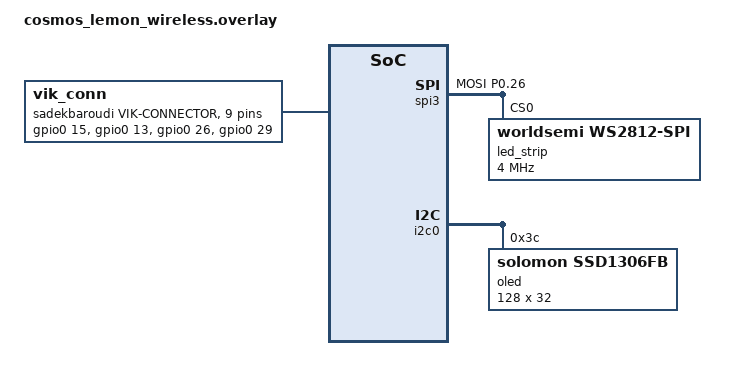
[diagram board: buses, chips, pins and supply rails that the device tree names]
#include <dt-bindings/led/led.h>

&pinctrl {
    spi3_default: spi3_default {
        group1 {
            psels = <NRF_PSEL(SPIM_MOSI, 0, 26)>;
        };
    };

    spi3_sleep: spi3_sleep {
        group1 {
            psels = <NRF_PSEL(SPIM_MOSI, 0, 26)>;
            low-power-enable;
        };
    };
};

&spi3 {
    compatible = "nordic,nrf-spim";
    status = "okay";

    pinctrl-0 = <&spi3_default>;
    pinctrl-1 = <&spi3_sleep>;
    pinctrl-names = "default", "sleep";

    led_strip: ws2812@0 {
        compatible = "worldsemi,ws2812-spi";

        /* SPI */
        reg = <0>; /* ignored, but necessary for SPI bindings */
        spi-max-frequency = <4000000>;

        /* WS2812 */
        chain-length = <49>;
        spi-one-frame = <0xE0>;
        spi-zero-frame = <0x80>;
        reset-delay = <50>;

        color-mapping = <LED_COLOR_ID_GREEN LED_COLOR_ID_RED LED_COLOR_ID_BLUE>;
    };
};

/ {
    chosen {
        zmk,underglow = &led_strip;
    };

    vik_conn: vik_connector {
		    compatible = "sadekbaroudi,vik-connector";
        #gpio-cells = <2>;
        gpio-map-mask = <0xffffffff 0xffffffc0>;
        gpio-map-pass-thru = <0 0x3f>;
        gpio-map
          = <0 0 &gpio0  15 0>   /* vik SDA */
          , <1 0 &gpio0  13 0>   /* vik SCL */
          , <2 0 &gpio0  26 0>   /* vik RGB Data */
          , <3 0 &gpio0  29 0>   /* vik AD_1 */
          , <4 0 &gpio0  12 0>   /* vik MOSI */
          , <5 0 &gpio0  31 0>   /* vik AD_2 */
          , <6 0 &gpio0  8 0>    /* vik CS */
          , <7 0 &gpio0  6 0>    /* vik MISO */
          , <8 0 &gpio1  1 9>    /* vik SCLK */
          ;
    };
};

&i2c0 {
    status = "okay";
    compatible = "nordic,nrf-twi"; // Adjust depending on your MCU (e.g., nordic,nrf-twim)
    sda-pin = 15; // Replace X with your MCU's SDA GPIO pin number
    scl-pin = 13; // Replace Y with your MCU's SCL GPIO pin number

    oled: ssd1306@3c {
        compatible = "solomon,ssd1306fb";
        reg = <0x3c>;
        width = <128>;
        height = <32>;
        segment-offset = <0>;
        page-offset = <0>;
        display-offset = <0>;
        multiplex-ratio = <31>;
        segment-remap;
        com-invdir;
        prechargep = <0x22>;
    };
};

/ {
    chosen {
        zephyr,display = &oled;
    };
};

vik_i2c: &i2c0 {};
vik_spi: &spi1 {};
